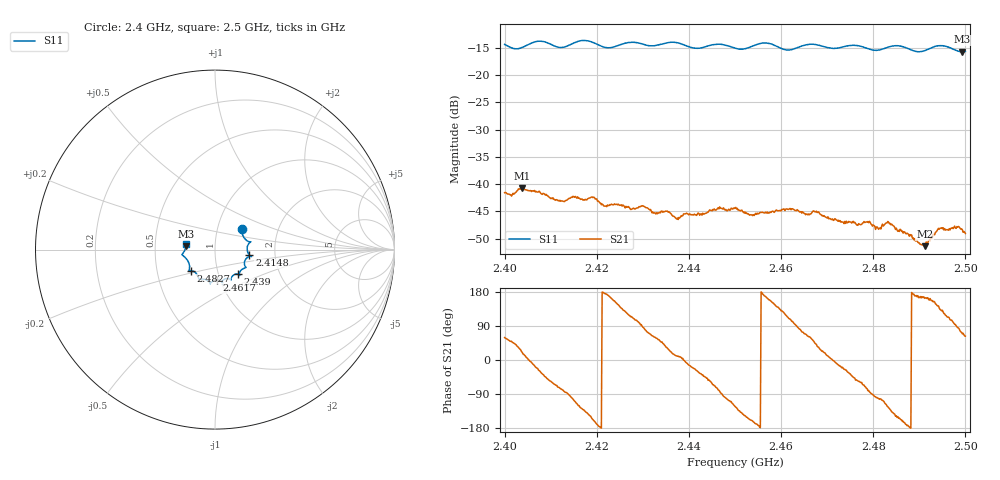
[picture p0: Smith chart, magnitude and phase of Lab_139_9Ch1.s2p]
# Hz S RI R 50
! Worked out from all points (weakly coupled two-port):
!   601 points, 2.4 GHz to 2.5 GHz, reference 50 ohm
!   highest |S21| = -40.76 dB at 2.4038 GHz (marker M1); lowest = -51.4 dB at 2.4912 GHz (marker M2)
!   lowest |S11| = -15.7 dB at 2.4993 GHz (marker M3), VSWR 1.39, Z = 36 + j1.41 ohm
!   |S11| at or under -10 dB: start of sweep to end of sweep
!   S12 and S22 are empty: the file has one direction only
!   S11 on the Smith chart (normalised r, x): 2.4 GHz: 1.31, +0.32; 2.4148 GHz: 1.47, -0.10; 2.439 GHz: 1.24, -0.35; 2.4617 GHz: 0.96, -0.33; 2.4827 GHz: 0.75, -0.18; 2.5 GHz: 0.72, +0.05
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2.4e9  0.1515 0.116  0.00428 0.00716  0 0  0 0
2.403833e9  0.1699 0.0568  0.00861 0.00314  0 0  0 0
2.407667e9  0.1997 0.0434  0.00735 -0.00417  0 0  0 0
2.412333e9  0.1787 0.0022  0.0016 -0.00683  0 0  0 0
2.414833e9  0.1922 -0.0312  -0.00177 -0.00752  0 0  0 0
2.416667e9  0.203 -0.0394  -0.00443 -0.0058  0 0  0 0
2.422333e9  0.1672 -0.06  -0.00636 0.000962  0 0  0 0
2.43e9  0.1608 -0.105  0.000375 0.00633  0 0  0 0
2.433333e9  0.1368 -0.1302  0.00323 0.00439  0 0  0 0
2.439e9  0.1296 -0.1369  0.00534 -0.000125  0 0  0 0
2.45e9  0.0709 -0.1615  -0.00321 -0.00515  0 0  0 0
2.453667e9  0.0402 -0.1788  -0.00488 -0.00181  0 0  0 0
2.456833e9  0.044 -0.1913  -0.00524 0.00144  0 0  0 0
2.461667e9  0.0088 -0.1693  -0.00199 0.00552  0 0  0 0
2.466667e9  -0.0262 -0.1898  0.00313 0.00448  0 0  0 0
2.481e9  -0.1142 -0.124  -0.000743 -0.0039  0 0  0 0
2.482667e9  -0.132 -0.1174  -0.00191 -0.00393  0 0  0 0
2.483333e9  -0.1377 -0.1169  -0.00263 -0.00362  0 0  0 0
2.491167e9  -0.1587 -0.0524  -0.00258 0.000804  0 0  0 0
2.4945e9  -0.1836 -0.0288  -0.00271 0.00286  0 0  0 0
2.499333e9  -0.1622 0.019  0.00136 0.00358  0 0  0 0
2.5e9  -0.1615 0.031  0.00161 0.00314  0 0  0 0
